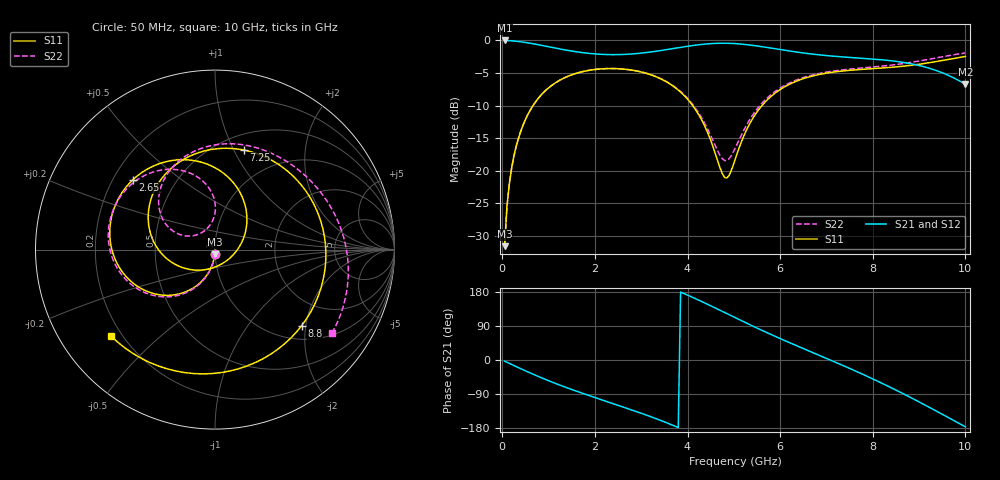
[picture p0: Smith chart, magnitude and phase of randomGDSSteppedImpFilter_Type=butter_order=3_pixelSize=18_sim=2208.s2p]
! freq	dB(S11)	phase(S11)	dB(S12)	phase(S12)
!  dB(S21)	phase(S21)	dB(S22)	phase(S22)
!S-par simulation data
#  GHz  S  DB  R 50
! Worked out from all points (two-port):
!   200 points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, 50 MHz to 10 GHz, reference 50 ohm
!   highest |S21| = -0.01 dB at 50 MHz (marker M1); lowest = -6.7 dB at 10 GHz (marker M2)
!   |S21| within 3 dB of the highest: start of sweep to 8.246 GHz
!   lowest |S11| = -31.6 dB at 50 MHz (marker M3), VSWR 1.05, Z = 49.8 - j2.63 ohm
!   |S11| at or under -10 dB: start of sweep to 664 MHz; 4.112 GHz to 5.607 GHz (1.496 GHz wide, 30.8 % of centre)
!   |S22| runs from -31.6 to -1.9 dB; largest |S21 - S12| = 0
!   S11 on the Smith chart (normalised r, x): 50 MHz: 1.00, -0.05; 2.65 GHz: 0.28, +0.34; 7.25 GHz: 0.66, +1.10; 8.8 GHz: 1.31, -1.90; 10 GHz: 0.16, -0.35
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0.05  -31.56 -93.1  -0.01 -3.0  -0.01 -3.0  -31.56 -93.0
0.1  -25.57 -96.3  -0.02 -5.9  -0.02 -5.9  -25.57 -96.1
0.2  -19.66 -102.3  -0.06 -11.7  -0.06 -11.7  -19.65 -101.9
0.5  -12.13 -119.7  -0.31 -28.7  -0.31 -28.7  -12.14 -118.6
1.05  -6.99 -148.9  -1.04 -57.2  -1.04 -57.2  -6.99 -146.5
1.75  -4.76 178.7  -1.89 -88.6  -1.89 -88.6  -4.76 -176.9
2.65  -4.43 139.8  -2.14 -125.6  -2.14 -125.6  -4.42 148.3
3.4  -5.82 103.9  -1.58 -158.5  -1.58 -158.5  -5.79 119.4
3.85  -7.93 77.9  -1.06 179.2  -1.06 179.2  -7.84 102.2
4.25  -11.50 48.5  -0.66 157.5  -0.66 157.5  -11.23 90.6
4.8  -21.02 -46.5  -0.43 125.3  -0.43 125.3  -18.42 119.7
5.05  -17.80 -119.0  -0.50 110.4  -0.50 110.4  -16.22 150.7
5.4  -12.07 -163.0  -0.75 89.9  -0.75 89.9  -11.52 155.7
5.9  -8.03 159.0  -1.29 61.9  -1.29 61.9  -7.78 140.3
6.7  -5.46 108.5  -2.10 19.8  -2.10 19.8  -5.29 108.5
7.25  -4.77 73.9  -2.48 -8.8  -2.48 -8.8  -4.60 86.6
7.75  -4.45 40.1  -2.73 -35.8  -2.73 -35.8  -4.24 67.2
8.35  -4.16 -4.8  -3.08 -70.3  -3.08 -70.3  -3.84 43.8
8.8  -3.84 -41.3  -3.55 -97.9  -3.55 -97.9  -3.40 25.4
9.4  -3.21 -91.5  -4.69 -136.6  -4.69 -136.6  -2.64 -2.5
9.7  -2.83 -116.3  -5.58 -156.4  -5.58 -156.4  -2.26 -18.4
10  -2.46 -140.5  -6.74 -176.4  -6.74 -176.4  -1.93 -35.6
